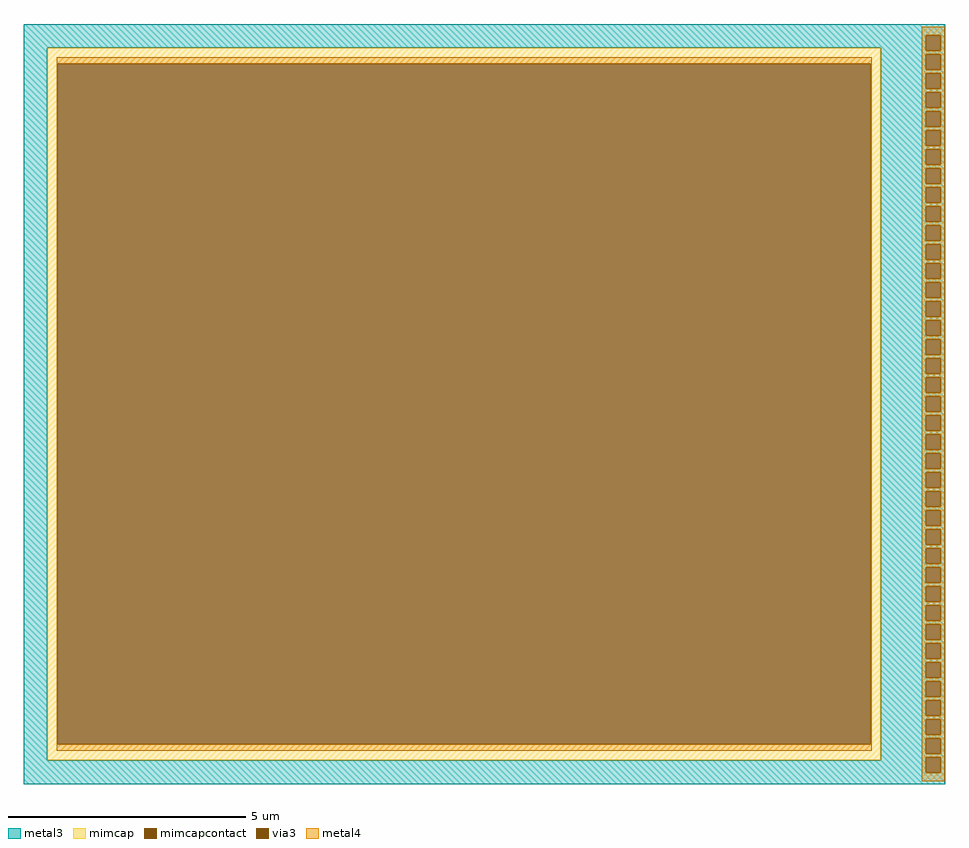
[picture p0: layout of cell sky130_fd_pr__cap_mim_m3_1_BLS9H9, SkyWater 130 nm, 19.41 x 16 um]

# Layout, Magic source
magic
tech sky130A
magscale 1 2
<< metal3 >>
rect -1941 1552 1941 1600
rect -1941 1500 1857 1552
rect -1941 -1500 -1841 1500
rect 1669 1488 1857 1500
rect 1921 1488 1941 1552
rect 1669 1472 1941 1488
rect 1669 1408 1857 1472
rect 1921 1408 1941 1472
rect 1669 1392 1941 1408
rect 1669 1328 1857 1392
rect 1921 1328 1941 1392
rect 1669 1312 1941 1328
rect 1669 1248 1857 1312
rect 1921 1248 1941 1312
rect 1669 1232 1941 1248
rect 1669 1168 1857 1232
rect 1921 1168 1941 1232
rect 1669 1152 1941 1168
rect 1669 1088 1857 1152
rect 1921 1088 1941 1152
rect 1669 1072 1941 1088
rect 1669 1008 1857 1072
rect 1921 1008 1941 1072
rect 1669 992 1941 1008
rect 1669 928 1857 992
rect 1921 928 1941 992
rect 1669 912 1941 928
rect 1669 848 1857 912
rect 1921 848 1941 912
rect 1669 832 1941 848
rect 1669 768 1857 832
rect 1921 768 1941 832
rect 1669 752 1941 768
rect 1669 688 1857 752
rect 1921 688 1941 752
rect 1669 672 1941 688
rect 1669 608 1857 672
rect 1921 608 1941 672
rect 1669 592 1941 608
rect 1669 528 1857 592
rect 1921 528 1941 592
rect 1669 512 1941 528
rect 1669 448 1857 512
rect 1921 448 1941 512
rect 1669 432 1941 448
rect 1669 368 1857 432
rect 1921 368 1941 432
rect 1669 352 1941 368
rect 1669 288 1857 352
rect 1921 288 1941 352
rect 1669 272 1941 288
rect 1669 208 1857 272
rect 1921 208 1941 272
rect 1669 192 1941 208
rect 1669 128 1857 192
rect 1921 128 1941 192
rect 1669 112 1941 128
rect 1669 48 1857 112
rect 1921 48 1941 112
rect 1669 32 1941 48
rect 1669 -32 1857 32
rect 1921 -32 1941 32
rect 1669 -48 1941 -32
rect 1669 -112 1857 -48
rect 1921 -112 1941 -48
rect 1669 -128 1941 -112
rect 1669 -192 1857 -128
rect 1921 -192 1941 -128
rect 1669 -208 1941 -192
rect 1669 -272 1857 -208
rect 1921 -272 1941 -208
rect 1669 -288 1941 -272
rect 1669 -352 1857 -288
rect 1921 -352 1941 -288
rect 1669 -368 1941 -352
rect 1669 -432 1857 -368
rect 1921 -432 1941 -368
rect 1669 -448 1941 -432
rect 1669 -512 1857 -448
rect 1921 -512 1941 -448
rect 1669 -528 1941 -512
rect 1669 -592 1857 -528
rect 1921 -592 1941 -528
rect 1669 -608 1941 -592
rect 1669 -672 1857 -608
rect 1921 -672 1941 -608
rect 1669 -688 1941 -672
rect 1669 -752 1857 -688
rect 1921 -752 1941 -688
rect 1669 -768 1941 -752
rect 1669 -832 1857 -768
rect 1921 -832 1941 -768
rect 1669 -848 1941 -832
rect 1669 -912 1857 -848
rect 1921 -912 1941 -848
rect 1669 -928 1941 -912
rect 1669 -992 1857 -928
rect 1921 -992 1941 -928
rect 1669 -1008 1941 -992
rect 1669 -1072 1857 -1008
rect 1921 -1072 1941 -1008
rect 1669 -1088 1941 -1072
rect 1669 -1152 1857 -1088
rect 1921 -1152 1941 -1088
rect 1669 -1168 1941 -1152
rect 1669 -1232 1857 -1168
rect 1921 -1232 1941 -1168
rect 1669 -1248 1941 -1232
rect 1669 -1312 1857 -1248
rect 1921 -1312 1941 -1248
rect 1669 -1328 1941 -1312
rect 1669 -1392 1857 -1328
rect 1921 -1392 1941 -1328
rect 1669 -1408 1941 -1392
rect 1669 -1472 1857 -1408
rect 1921 -1472 1941 -1408
rect 1669 -1488 1941 -1472
rect 1669 -1500 1857 -1488
rect -1941 -1552 1857 -1500
rect 1921 -1552 1941 -1488
rect -1941 -1600 1941 -1552
<< via3 >>
rect 1857 1488 1921 1552
rect 1857 1408 1921 1472
rect 1857 1328 1921 1392
rect 1857 1248 1921 1312
rect 1857 1168 1921 1232
rect 1857 1088 1921 1152
rect 1857 1008 1921 1072
rect 1857 928 1921 992
rect 1857 848 1921 912
rect 1857 768 1921 832
rect 1857 688 1921 752
rect 1857 608 1921 672
rect 1857 528 1921 592
rect 1857 448 1921 512
rect 1857 368 1921 432
rect 1857 288 1921 352
rect 1857 208 1921 272
rect 1857 128 1921 192
rect 1857 48 1921 112
rect 1857 -32 1921 32
rect 1857 -112 1921 -48
rect 1857 -192 1921 -128
rect 1857 -272 1921 -208
rect 1857 -352 1921 -288
rect 1857 -432 1921 -368
rect 1857 -512 1921 -448
rect 1857 -592 1921 -528
rect 1857 -672 1921 -608
rect 1857 -752 1921 -688
rect 1857 -832 1921 -768
rect 1857 -912 1921 -848
rect 1857 -992 1921 -928
rect 1857 -1072 1921 -1008
rect 1857 -1152 1921 -1088
rect 1857 -1232 1921 -1168
rect 1857 -1312 1921 -1248
rect 1857 -1392 1921 -1328
rect 1857 -1472 1921 -1408
rect 1857 -1552 1921 -1488
<< mimcap >>
rect -1841 1432 1669 1500
rect -1841 -1432 -1798 1432
rect 1626 -1432 1669 1432
rect -1841 -1500 1669 -1432
<< mimcapcontact >>
rect -1798 -1432 1626 1432
<< metal4 >>
rect 1841 1552 1937 1588
rect 1841 1488 1857 1552
rect 1921 1488 1937 1552
rect 1841 1472 1937 1488
rect -1802 1432 1630 1461
rect -1802 -1432 -1798 1432
rect 1626 -1432 1630 1432
rect -1802 -1461 1630 -1432
rect 1841 1408 1857 1472
rect 1921 1408 1937 1472
rect 1841 1392 1937 1408
rect 1841 1328 1857 1392
rect 1921 1328 1937 1392
rect 1841 1312 1937 1328
rect 1841 1248 1857 1312
rect 1921 1248 1937 1312
rect 1841 1232 1937 1248
rect 1841 1168 1857 1232
rect 1921 1168 1937 1232
rect 1841 1152 1937 1168
rect 1841 1088 1857 1152
rect 1921 1088 1937 1152
rect 1841 1072 1937 1088
rect 1841 1008 1857 1072
rect 1921 1008 1937 1072
rect 1841 992 1937 1008
rect 1841 928 1857 992
rect 1921 928 1937 992
rect 1841 912 1937 928
rect 1841 848 1857 912
rect 1921 848 1937 912
rect 1841 832 1937 848
rect 1841 768 1857 832
rect 1921 768 1937 832
rect 1841 752 1937 768
rect 1841 688 1857 752
rect 1921 688 1937 752
rect 1841 672 1937 688
rect 1841 608 1857 672
rect 1921 608 1937 672
rect 1841 592 1937 608
rect 1841 528 1857 592
rect 1921 528 1937 592
rect 1841 512 1937 528
rect 1841 448 1857 512
rect 1921 448 1937 512
rect 1841 432 1937 448
rect 1841 368 1857 432
rect 1921 368 1937 432
rect 1841 352 1937 368
rect 1841 288 1857 352
rect 1921 288 1937 352
rect 1841 272 1937 288
rect 1841 208 1857 272
rect 1921 208 1937 272
rect 1841 192 1937 208
rect 1841 128 1857 192
rect 1921 128 1937 192
rect 1841 112 1937 128
rect 1841 48 1857 112
rect 1921 48 1937 112
rect 1841 32 1937 48
rect 1841 -32 1857 32
rect 1921 -32 1937 32
rect 1841 -48 1937 -32
rect 1841 -112 1857 -48
rect 1921 -112 1937 -48
rect 1841 -128 1937 -112
rect 1841 -192 1857 -128
rect 1921 -192 1937 -128
rect 1841 -208 1937 -192
rect 1841 -272 1857 -208
rect 1921 -272 1937 -208
rect 1841 -288 1937 -272
rect 1841 -352 1857 -288
rect 1921 -352 1937 -288
rect 1841 -368 1937 -352
rect 1841 -432 1857 -368
rect 1921 -432 1937 -368
rect 1841 -448 1937 -432
rect 1841 -512 1857 -448
rect 1921 -512 1937 -448
rect 1841 -528 1937 -512
rect 1841 -592 1857 -528
rect 1921 -592 1937 -528
rect 1841 -608 1937 -592
rect 1841 -672 1857 -608
rect 1921 -672 1937 -608
rect 1841 -688 1937 -672
rect 1841 -752 1857 -688
rect 1921 -752 1937 -688
rect 1841 -768 1937 -752
rect 1841 -832 1857 -768
rect 1921 -832 1937 -768
rect 1841 -848 1937 -832
rect 1841 -912 1857 -848
rect 1921 -912 1937 -848
rect 1841 -928 1937 -912
rect 1841 -992 1857 -928
rect 1921 -992 1937 -928
rect 1841 -1008 1937 -992
rect 1841 -1072 1857 -1008
rect 1921 -1072 1937 -1008
rect 1841 -1088 1937 -1072
rect 1841 -1152 1857 -1088
rect 1921 -1152 1937 -1088
rect 1841 -1168 1937 -1152
rect 1841 -1232 1857 -1168
rect 1921 -1232 1937 -1168
rect 1841 -1248 1937 -1232
rect 1841 -1312 1857 -1248
rect 1921 -1312 1937 -1248
rect 1841 -1328 1937 -1312
rect 1841 -1392 1857 -1328
rect 1921 -1392 1937 -1328
rect 1841 -1408 1937 -1392
rect 1841 -1472 1857 -1408
rect 1921 -1472 1937 -1408
rect 1841 -1488 1937 -1472
rect 1841 -1552 1857 -1488
rect 1921 -1552 1937 -1488
rect 1841 -1588 1937 -1552
<< properties >>
string FIXED_BBOX -1941 -1600 1769 1600
<< end >>
